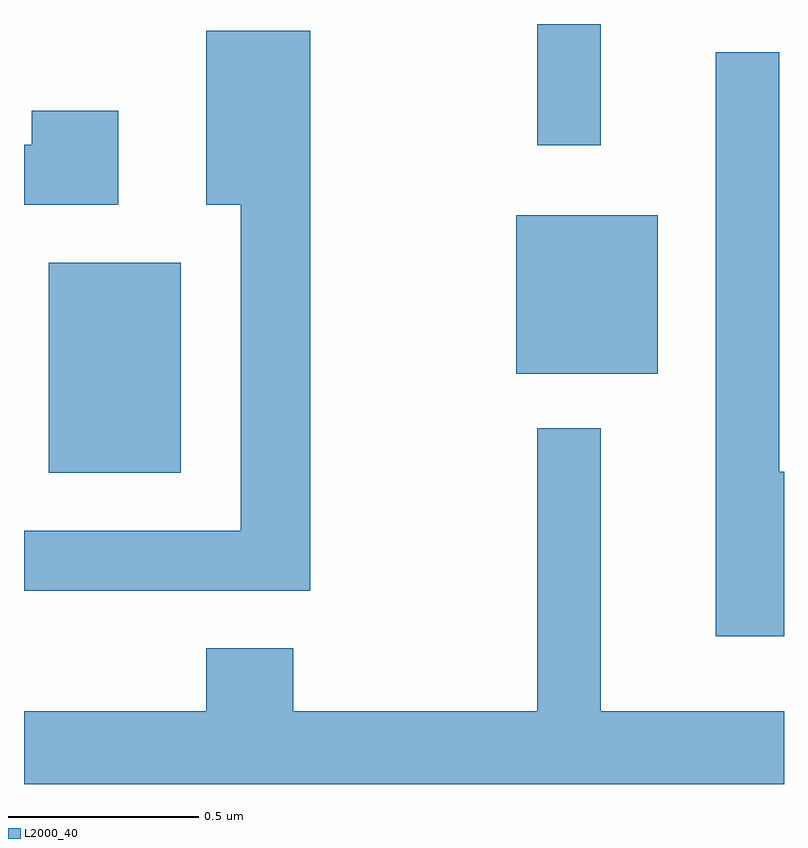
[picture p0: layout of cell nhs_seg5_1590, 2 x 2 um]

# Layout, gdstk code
import gdstk
lib = gdstk.Library(unit=1e-6, precision=1e-09)
def R(c, l, rs):  # rectangles x0, y0, x1, y1
    for r in rs: c.add(gdstk.rectangle(r[:2], r[2:], *l))
def P(c, l, *ps):  # polygons
    for p in ps: c.add(gdstk.Polygon(p, *l))
L2000_40 = (2000, 40)

nhs_seg5_1590 = lib.new_cell('nhs_seg5_1590')
R(nhs_seg5_1590, L2000_40, [(196.676,1479.891,197.024,1480.444), (197.906,1480.151,198.279,1480.569), (197.961,1480.753,198.129,1481.072)])
P(nhs_seg5_1590, L2000_40, [(197.364,1481.054),(197.091,1481.054),(197.091,1480.596),(197.181,1480.596),(197.181,1479.739),(196.611,1479.739),(196.611,1479.581),(197.364,1479.581)],
  [(198.611,1479.894),(198.599,1479.894),(198.599,1480.998),(198.431,1480.998),(198.431,1479.461),(198.611,1479.461)],
  [(196.859,1480.844),(196.631,1480.844),(196.631,1480.754),(196.611,1480.754),(196.611,1480.596),(196.859,1480.596)],
  [(198.611,1479.264),(198.129,1479.264),(198.129,1480.008),(197.961,1480.008),(197.961,1479.264),(197.319,1479.264),(197.319,1479.429),(197.091,1479.429),(197.091,1479.264),(196.611,1479.264),(196.611,1479.072),(198.611,1479.072)])

lib.write_gds('nhs_seg5_1590.gds')
